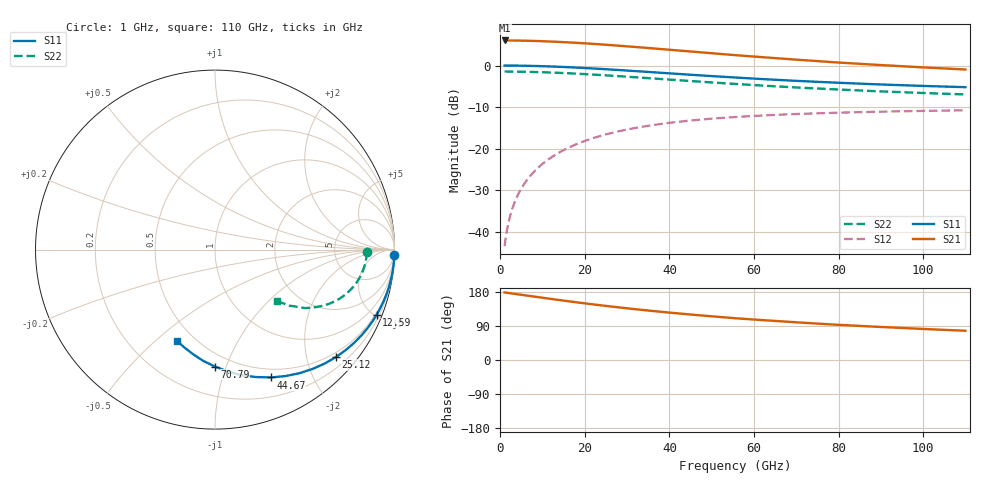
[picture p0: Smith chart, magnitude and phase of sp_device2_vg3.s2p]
! Touchstone Ver. 1.0
! Number of ports is 2
# Hz	S	RI	R	50.000000
! SCATTERING PARAMETERS  :
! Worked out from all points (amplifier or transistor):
!   42 points, 1 GHz to 110 GHz, reference 50 ohm
!   highest |S21| = 6.0 dB at 1 GHz (marker M1)
!   |S21| within 3 dB of that: start of sweep to 49.23 GHz
!   unconditionally stable (mu >= 1): 81.5 GHz to end of sweep
!   at 2.239 GHz: K = 0.03, MSG = 21.2 dB, |S12| = -36.4 dB
!   at 11.22 GHz: K = 0.15, MSG = 14.2 dB, |S12| = -22.6 dB
!   at 110 GHz: K = 1.27, MAG = 1.8 dB, |S12| = -10.8 dB
!   S11 on the Smith chart (normalised r, x): 1 GHz: 0, -65; 12.59 GHz: 0.40, -5.15; 25.12 GHz: 0.40, -2.58; 44.67 GHz: 0.40, -1.45; 70.79 GHz: 0.40, -0.91; 110 GHz: 0.40, -0.59
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1e9  0.9993 -0.0308  -1.999 0.0557  0.000146 0.00678  0.8462 -0.0131
1.258925e9  0.9989 -0.0388  -1.998 0.0701  0.000231 0.00853  0.846 -0.0165
1.584893e9  0.9983 -0.0488  -1.997 0.0883  0.000366 0.0107  0.8458 -0.0207
2.238721e9  0.9966 -0.0691  -1.994 0.1249  0.000732 0.0151  0.8451 -0.0294
3.162278e9  0.9934 -0.0971  -1.988 0.1755  0.00145 0.0213  0.8438 -0.0412
4.466836e9  0.9868 -0.1366  -1.976 0.2467  0.00288 0.03  0.8412 -0.0579
6.309573e9  0.9739 -0.1911  -1.952 0.3453  0.0057 0.042  0.836 -0.0811
7.943282e9  0.9591 -0.2381  -1.925 0.43  0.00893 0.0523  0.8301 -0.1011
1e10  0.9362 -0.2948  -1.884 0.5323  0.0139 0.0648  0.8209 -0.1253
1.258925e10  0.9014 -0.3616  -1.821 0.6529  0.0215 0.0795  0.807 -0.154
1.584893e10  0.8498 -0.4376  -1.727 0.7898  0.0328 0.0963  0.7864 -0.1869
1.995262e10  0.7758 -0.5189  -1.592 0.936  0.0489 0.1142  0.7567 -0.2225
2.511886e10  0.6746 -0.5982  -1.408 1.078  0.071 0.1318  0.7161 -0.2583
3.162278e10  0.5449 -0.6644  -1.172 1.196  0.0993 0.1465  0.664 -0.2899
3.981072e10  0.3921 -0.7048  -0.8938 1.266  0.1327 0.1558  0.6024 -0.3126
4.466836e10  0.3107 -0.7122  -0.7459 1.277  0.1505 0.1576  0.5694 -0.3194
5.623413e10  0.1459 -0.6996  -0.445 1.247  0.1864 0.1543  0.5017 -0.3262
7.079458e10  -0.000737 -0.6516  -0.1812 1.154  0.2187 0.1457  0.4409 -0.316
7.943282e10  -0.0676 -0.6189  -0.059 1.089  0.2333 0.1379  0.4119 -0.3121
8.912509e10  -0.1247 -0.581  0.042 1.018  0.2461 0.1313  0.3871 -0.3019
1e11  -0.1759 -0.541  0.1335 0.9402  0.2574 0.123  0.3637 -0.2941
1.1e11  -0.2128 -0.5068  0.1991 0.8739  0.2657 0.1161  0.3458 -0.2878
